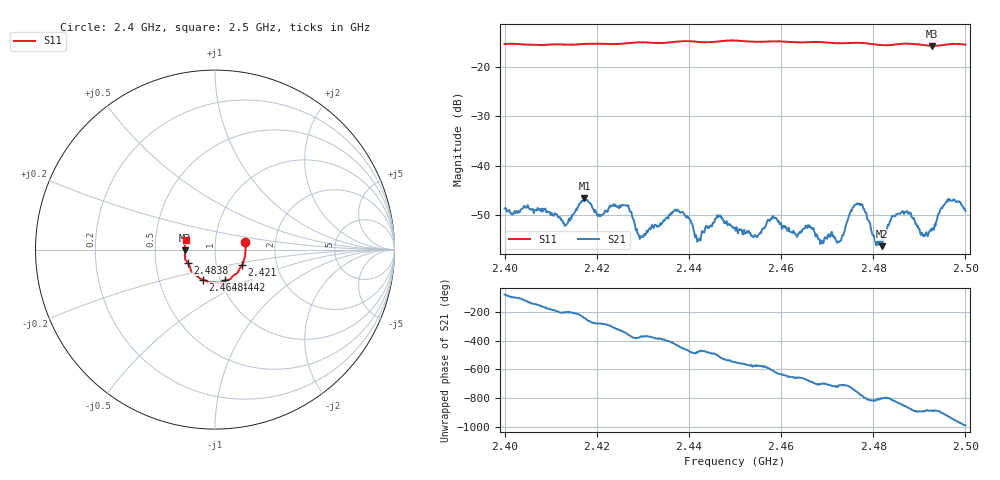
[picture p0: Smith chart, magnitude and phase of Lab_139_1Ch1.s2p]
# Hz S RI R 50
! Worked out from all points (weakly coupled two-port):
!   601 points, 2.4 GHz to 2.5 GHz, reference 50 ohm
!   highest |S21| = -46.66 dB at 2.4173 GHz (marker M1); lowest = -56.4 dB at 2.4818 GHz (marker M2)
!   lowest |S11| = -15.6 dB at 2.4928 GHz (marker M3), VSWR 1.40, Z = 35.8 - j0.356 ohm
!   |S11| at or under -10 dB: start of sweep to end of sweep
!   S12 and S22 are empty: the file has one direction only
!   S11 on the Smith chart (normalised r, x): 2.4 GHz: 1.40, +0.12; 2.421 GHz: 1.33, -0.24; 2.4442 GHz: 1.05, -0.37; 2.4648 GHz: 0.83, -0.29; 2.4838 GHz: 0.73, -0.11; 2.5 GHz: 0.72, +0.08
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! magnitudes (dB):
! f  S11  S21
! 2.4 GHz  -15.2  -48.7
! 2.4132 GHz  -15.3  -52.3
! 2.4167 GHz  -15.2  -47.2
! 2.4173 GHz  -15.2  -46.7
! 2.421 GHz  -15.2  -50.1
! 2.4263 GHz  -15.1  -48.2
! 2.4297 GHz  -14.9  -54.5
! 2.4333 GHz  -15.0  -52.3
! 2.4373 GHz  -14.7  -49.3
! 2.442 GHz  -14.8  -55.1
! 2.4442 GHz  -14.9  -52.8
! 2.45 GHz  -14.5  -52.8
! 2.4648 GHz  -14.9  -53.0
! 2.4667 GHz  -14.8  -52.8
! 2.4725 GHz  -15.1  -55.6
! 2.477 GHz  -15.0  -47.9
! 2.4818 GHz  -15.4  -56.4
! 2.4833 GHz  -15.5  -52.2
! 2.4838 GHz  -15.4  -51.1
! 2.4928 GHz  -15.6  -52.7
! 2.4962 GHz  -15.3  -46.8
! 2.5 GHz  -15.4  -49.3
